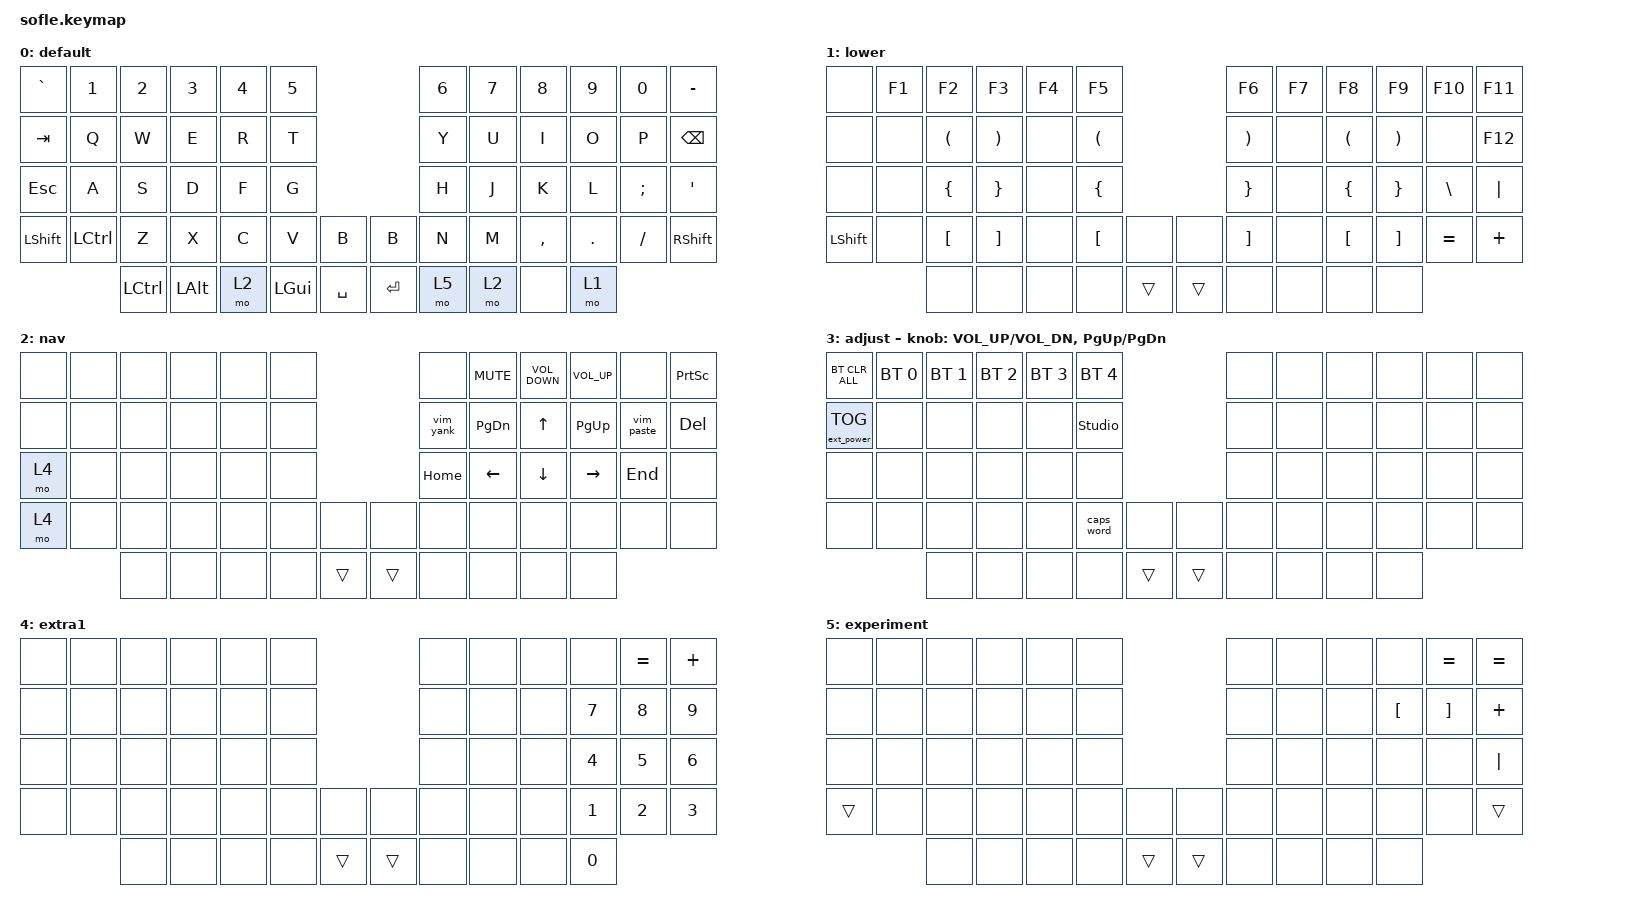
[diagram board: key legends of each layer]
/*
 * Copyright (c) 2020 The ZMK Contributors
 *
 * SPDX-License-Identifier: MIT
 */

#include <behaviors.dtsi>
#include <dt-bindings/zmk/bt.h>
#include <dt-bindings/zmk/ext_power.h>
#include <dt-bindings/zmk/keys.h>

#define BASE 0
#define LOWER 1
#define RAISE 2
#define ADJUST 3
#define extra_layer 4

/ {
    // Activate ADJUST layer by pressing raise and lower

    conditional_layers {
        compatible = "zmk,conditional-layers";

        adjust_layer {
            if-layers = <LOWER RAISE>;
            then-layer = <ADJUST>;
        };
    };

    combos { compatible = "zmk,combos"; };

    behaviors {
        caps: caps {
            compatible = "zmk,behavior-caps-word";
            label = "CAPS";
            #binding-cells = <0>;
            continue-list = <POUND MINUS BACKSPACE UNDERSCORE>;
        };
    };

    macros {
        vim_paste: vim_paste {
            compatible = "zmk,behavior-macro";
            #binding-cells = <0>;
            bindings = <&kp DQT &kp PLUS &kp P>;
            label = "VIM_PASTE";
        };

        vim_yank: vim_yank {
            compatible = "zmk,behavior-macro";
            #binding-cells = <0>;
            bindings = <&kp DQT &kp PLUS &kp Y>;
            label = "VIM_YANK";
        };
    };

    keymap {
        compatible = "zmk,keymap";

        default_layer {
            display-name = "default";

            // ------------------------------------------------------------------------------------------------------------
            // |   `   |  1  |  2  |  3   |  4   |  5   |                   |  6   |  7    |  8    |  9   |   0   |       |
            // |  ESC  |  Q  |  W  |  E   |  R   |  T   |                   |  Y   |  U    |  I    |  O   |   P   | BKSPC |
            // |  TAB  |  A  |  S  |  D   |  F   |  G   |                   |  H   |  J    |  K    |  L   |   ;   |   '   |
            // | SHIFT |  Z  |  X  |  C   |  V   |  B   |  MUTE  |  |       |  N   |  M    |  ,    |  .   |   /   | SHIFT |
            //               | GUI | ALT  | CTRL | LOWER|  ENTER |  | SPACE | RAISE| CTRL  | ALT   | GUI  |

            bindings = <
&kp GRAVE       &kp N1     &kp N2     &kp N3        &kp N4  &kp N5                                &kp N6  &kp N7  &kp N8     &kp N9   &kp N0    &kp MINUS
&kp TAB         &kp Q      &kp W      &kp E         &kp R   &kp T                                 &kp Y   &kp U   &kp I      &kp O    &kp P     &kp BSPC
&kp ESCAPE      &kp A      &kp S      &kp D         &kp F   &kp G                                 &kp H   &kp J   &kp K      &kp L    &kp SEMI  &kp SQT
&kp LEFT_SHIFT  &kp LCTRL  &kp Z      &kp X         &kp C   &kp V         &kp B        &kp B      &kp N   &kp M   &kp COMMA  &kp DOT  &kp FSLH  &kp RSHFT
                           &kp LCTRL  &kp LEFT_ALT  &mo 2   &kp LEFT_GUI  &kp SPACE    &kp ENTER  &mo 5   &mo 2   &none      &mo 1
            >;
        };

        function {
            display-name = "lower";

            // TODO: Some binds are waiting for shifted keycode support.
            // ------------------------------------------------------------------------------------------------------------
            // |       |  F1 |  F2 |  F3  |  F4  |  F5  |                   |  F6  |  F7   |  F8   |  F9  |  F10  |  F11  |
            // |   `   |  1  |  2  |  3   |  4   |  5   |                   |  6   |  7    |  8    |  9   |   0   |  F12  |
            // |       |  !  |  @  |  #   |  $   |  %   |                   |  ^   |  &    |  *    |  (   |   )   |   |   |
            // |       |  =  |  -  |  +   |  {   |  }   |        |  |       |  [   |  ]    |  ;    |  :   |   \   |       |
            //               |     |      |      |      |        |  |       |      |       |       |      |

            bindings = <
&none       &kp F1  &kp F2                &kp F3                 &kp F4  &kp F5                                  &kp F6                 &kp F7  &kp F8          &kp F9                 &kp F10        &kp F11
&none       &none   &kp LEFT_PARENTHESIS  &kp RIGHT_PARENTHESIS  &none   &kp LEFT_PARENTHESIS                    &kp RIGHT_PARENTHESIS  &none   &kp LPAR        &kp RIGHT_PARENTHESIS  &none          &kp F12
&none       &none   &kp LEFT_BRACE        &kp RIGHT_BRACE        &none   &kp LEFT_BRACE                          &kp RIGHT_BRACE        &none   &kp LEFT_BRACE  &kp RIGHT_BRACE        &kp BACKSLASH  &kp PIPE
&kp LSHIFT  &none   &kp LEFT_BRACKET      &kp RIGHT_BRACKET      &none   &kp LEFT_BRACKET      &none     &none   &kp RIGHT_BRACKET      &none   &kp LBKT        &kp RBKT               &kp EQUAL      &kp PLUS
                    &none                 &none                  &none   &none                 &trans    &trans  &none                  &none   &none           &none
            >;
        };

        nav {
            display-name = "nav";

            // ------------------------------------------------------------------------------------------------------------
            // | BTCLR | BT1  | BT2  |  BT3  |  BT4  |  BT5 |                |      |      |       |      |       |       |
            // |       | INS  | PSCR | GUI   |       |      |                | PGUP |      |   ^   |      |       |       |
            // |       | ALT  | CTRL | SHIFT |       | CAPS |                | PGDN |   <- |   v   |  ->  |  DEL  | BKSPC |
            // |       | UNDO | CUT  | COPY  | PASTE |      |      |  |      |      |      |       |      |       |       |
            //                |      |       |       |      |      |  |      |      |      |       |      |

            bindings = <
&none  &none  &none  &none  &none  &none                    &none      &kp K_MUTE     &kp K_VOLUME_DOWN  &kp K_VOLUME_UP  &none       &kp PRINTSCREEN
&none  &none  &none  &none  &none  &none                    &vim_yank  &kp PAGE_DOWN  &kp UP             &kp PAGE_UP      &vim_paste  &kp DEL
&mo 4  &none  &none  &none  &none  &none                    &kp HOME   &kp LEFT       &kp DOWN           &kp RIGHT        &kp END     &none
&mo 4  &none  &none  &none  &none  &none  &none     &none   &none      &none          &none              &none            &none       &none
              &none  &none  &none  &none  &trans    &trans  &none      &none          &none              &none
            >;
        };

        adjust_layer {
            // ----------------------------------------------------------------------------------------------------------------------------
            // | BTCLR  |  BT1    |  BT2    |   BT3   |   BT4   |   BT5   |                  |      |      |       |      |       |       |
            // | EXTPWR | RGB_HUD | RGB_HUI | RGB_SAD | RGB_SAI | RGB_EFF |                  |      |      |       |      |       |       |
            // |        | RGB_BRD | RGB_BRI |         |         |         |                  |      |      |       |      |       |       |
            // |        |         |         |         |         |         | RGB_TOG | |      |      |      |       |      |       |       |
            //                    |         |         |         |         |         | |      |      |      |       |      |

            display-name = "adjust";
            bindings = <
&bt BT_CLR_ALL     &bt BT_SEL 0  &bt BT_SEL 1  &bt BT_SEL 2  &bt BT_SEL 3  &bt BT_SEL 4                      &none  &none  &none  &none  &none  &none
&ext_power EP_TOG  &none         &none         &none         &none         &studio_unlock                    &none  &none  &none  &none  &none  &none
&none              &none         &none         &none         &none         &none                             &none  &none  &none  &none  &none  &none
&none              &none         &none         &none         &none         &caps_word      &none     &none   &none  &none  &none  &none  &none  &none
                                 &none         &none         &none         &none           &trans    &trans  &none  &none  &none  &none
            >;

            sensor-bindings = <&inc_dec_kp C_VOL_UP C_VOL_DN &inc_dec_kp PG_UP PG_DN>;
        };

        numpad {
            // ----------------------------------------------------------------------------------------------------------------------------
            // | BTCLR  |  BT1    |  BT2    |   BT3   |   BT4   |   BT5   |                  |      |      |       |      |       |       |
            // | EXTPWR | RGB_HUD | RGB_HUI | RGB_SAD | RGB_SAI | RGB_EFF |                  |      |      |       |      |       |       |
            // |        | RGB_BRD | RGB_BRI |         |         |         |                  |      |      |       |      |       |       |
            // |        |         |         |         |         |         | RGB_TOG | |      |      |      |       |      |       |       |
            //                    |         |         |         |         |         | |      |      |      |       |      |

            display-name = "extra1";
            bindings = <
&none  &none  &none  &none  &none  &none                    &none  &none  &none  &none   &kp EQUAL  &kp PLUS
&none  &none  &none  &none  &none  &none                    &none  &none  &none  &kp N7  &kp N8     &kp N9
&none  &none  &none  &none  &none  &none                    &none  &none  &none  &kp N4  &kp N5     &kp N6
&none  &none  &none  &none  &none  &none  &none     &none   &none  &none  &none  &kp N1  &kp N2     &kp N3
              &none  &none  &none  &none  &trans    &trans  &none  &none  &none  &kp N0
            >;
        };

        experiment {
            bindings = <
&none   &none  &none  &none  &none  &none                    &none  &none  &none  &none             &kp EQUAL  &kp EQUAL
&none   &none  &none  &none  &none  &none                    &none  &none  &none  &kp LEFT_BRACKET  &kp RBKT   &kp PLUS
&none   &none  &none  &none  &none  &none                    &none  &none  &none  &none             &none      &kp PIPE
&trans  &none  &none  &none  &none  &none  &none     &none   &none  &none  &none  &none             &none      &trans
               &none  &none  &none  &none  &trans    &trans  &none  &none  &none  &none
            >;
        };
    };
};
